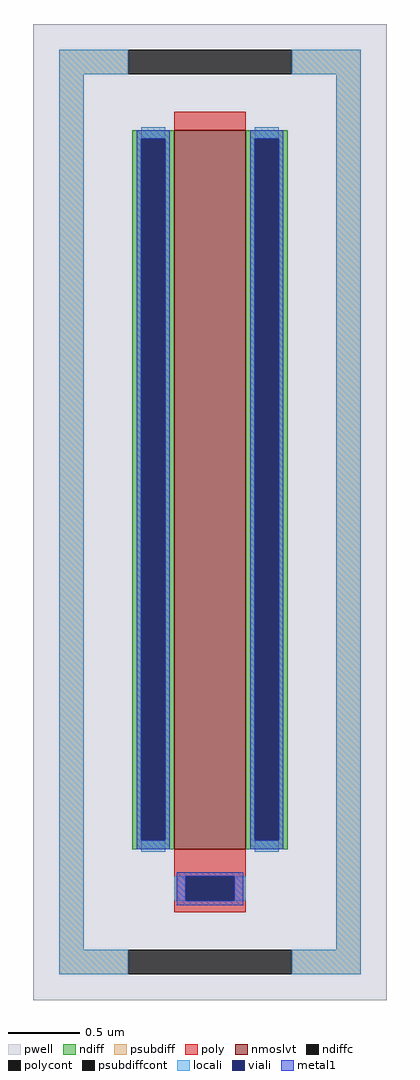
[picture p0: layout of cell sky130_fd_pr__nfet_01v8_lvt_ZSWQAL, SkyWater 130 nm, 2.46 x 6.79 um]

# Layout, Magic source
magic
tech sky130A
magscale 1 2
<< pwell >>
rect -246 -679 246 679
<< nmoslvt >>
rect -50 -469 50 531
<< ndiff >>
rect -108 519 -50 531
rect -108 -457 -96 519
rect -62 -457 -50 519
rect -108 -469 -50 -457
rect 50 519 108 531
rect 50 -457 62 519
rect 96 -457 108 519
rect 50 -469 108 -457
<< ndiffc >>
rect -96 -457 -62 519
rect 62 -457 96 519
<< psubdiff >>
rect -210 609 -114 643
rect 114 609 210 643
rect -210 -609 -176 609
rect 176 -609 210 609
rect -210 -643 -114 -609
rect 114 -643 210 -609
<< psubdiffcont >>
rect -114 609 114 643
rect -114 -643 114 -609
<< poly >>
rect -50 531 50 557
rect -50 -507 50 -469
rect -50 -541 -34 -507
rect 34 -541 50 -507
rect -50 -557 50 -541
<< polycont >>
rect -34 -541 34 -507
<< locali >>
rect -210 609 -114 643
rect 114 609 210 643
rect -210 -609 -176 609
rect -96 519 -62 535
rect -96 -473 -62 -457
rect 62 519 96 535
rect 62 -473 96 -457
rect -50 -541 -34 -507
rect 34 -541 50 -507
rect 176 -609 210 609
rect -210 -643 -114 -609
rect 114 -643 210 -609
<< viali >>
rect -96 -457 -62 519
rect 62 -457 96 519
rect -34 -541 34 -507
<< metal1 >>
rect -102 519 -56 531
rect -102 -457 -96 519
rect -62 -457 -56 519
rect -102 -469 -56 -457
rect 56 519 102 531
rect 56 -457 62 519
rect 96 -457 102 519
rect 56 -469 102 -457
rect -46 -507 46 -501
rect -46 -541 -34 -507
rect 34 -541 46 -507
rect -46 -547 46 -541
<< properties >>
string FIXED_BBOX -193 -626 193 626
string gencell sky130_fd_pr__nfet_01v8_lvt
string library sky130
string parameters w 5 l 0.5 m 1 nf 1 diffcov 100 polycov 100 guard 1 glc 0 grc 0 gtc 1 gbc 1 tbcov 100 rlcov 100 topc 0 botc 1 poverlap 0 doverlap 1 lmin 0.15 wmin 0.42 compatible {sky130_fd_pr__nfet_01v8 sky130_fd_pr__nfet_01v8_lvt  sky130_fd_bs_flash__special_sonosfet_star  sky130_fd_pr__nfet_g5v0d10v5 sky130_fd_pr__nfet_05v0_nvt  sky130_fd_pr__nfet_03v3_nvt} full_metal 1 viasrc 100 viadrn 100 viagate 100 viagb 0 viagr 0 viagl 0 viagt 0
<< end >>
